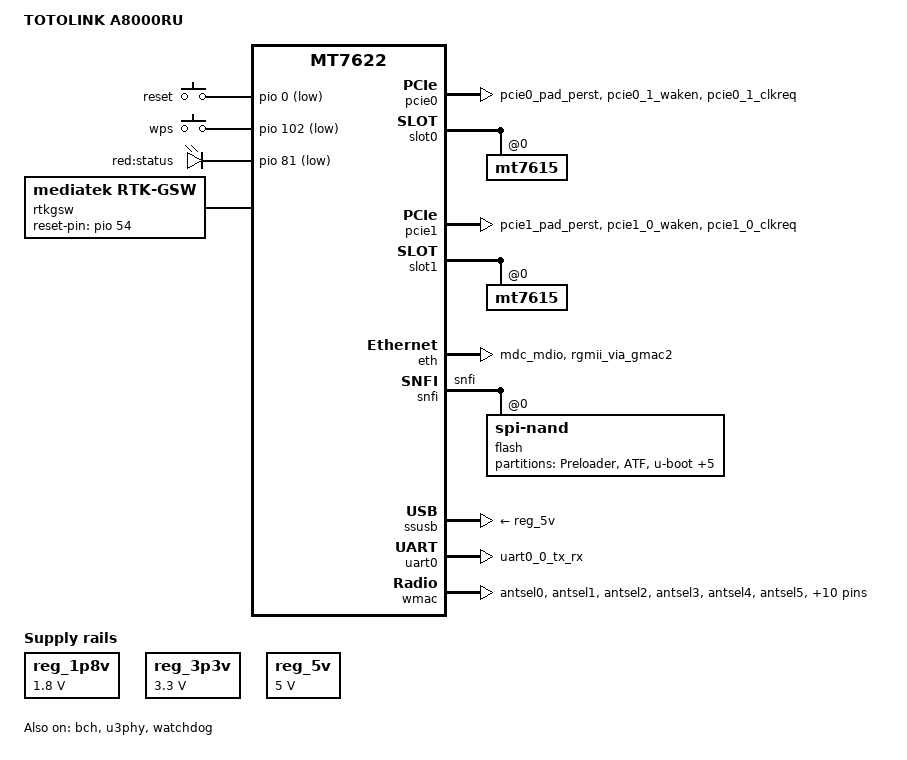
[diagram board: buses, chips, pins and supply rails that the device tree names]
// SPDX-License-Identifier: (GPL-2.0-only OR MIT)

/dts-v1/;
#include <dt-bindings/input/input.h>
#include <dt-bindings/gpio/gpio.h>

#include "mt7622.dtsi"
#include "mt6380.dtsi"

/ {
	model = "TOTOLINK A8000RU";
	compatible = "totolink,a8000ru", "mediatek,mt7622";

	aliases {
		label-mac-device = &gmac0;
		led-boot = &led_status;
		led-failsafe = &led_status;
		led-running = &led_status;
		led-upgrade = &led_status;
		serial0 = &uart0;
	};

	chosen {
		stdout-path = "serial0:115200n8";
		bootargs = "earlycon=uart8250,mmio32,0x11002000 swiotlb=512";
	};

	cpus {
		cpu@0 {
			proc-supply = <&mt6380_vcpu_reg>;
			sram-supply = <&mt6380_vm_reg>;
		};

		cpu@1 {
			proc-supply = <&mt6380_vcpu_reg>;
			sram-supply = <&mt6380_vm_reg>;
		};
	};

	gpio-keys {
		compatible = "gpio-keys";

		reset {
			label = "reset";
			linux,code = <KEY_RESTART>;
			gpios = <&pio 0 GPIO_ACTIVE_LOW>;
		};

		wps {
			label = "wps";
			linux,code = <KEY_WPS_BUTTON>;
			gpios = <&pio 102 GPIO_ACTIVE_LOW>;
		};
	};

	gpio-leds {
		compatible = "gpio-leds";

		led_status: status_red {
			label = "red:status";
			gpios = <&pio 81 GPIO_ACTIVE_LOW>;
			default-state = "on";
		};
	};

	reg_1p8v: regulator-1p8v {
		compatible = "regulator-fixed";
		regulator-name = "fixed-1.8V";
		regulator-min-microvolt = <1800000>;
		regulator-max-microvolt = <1800000>;
		regulator-always-on;
	};

	reg_3p3v: regulator-3p3v {
		compatible = "regulator-fixed";
		regulator-name = "fixed-3.3V";
		regulator-min-microvolt = <3300000>;
		regulator-max-microvolt = <3300000>;
		regulator-boot-on;
		regulator-always-on;
	};

	reg_5v: regulator-5v {
		compatible = "regulator-fixed";
		regulator-name = "fixed-5V";
		regulator-min-microvolt = <5000000>;
		regulator-max-microvolt = <5000000>;
		regulator-boot-on;
		regulator-always-on;
	};

	rtkgsw: rtkgsw@0 {
		compatible = "mediatek,rtk-gsw";
		mediatek,ethsys = <&ethsys>;
		mediatek,mdio = <&mdio>;
		mediatek,reset-pin = <&pio 54 0>;
		status = "okay";
	};
};

&pcie0 {
	pinctrl-names = "default";
	pinctrl-0 = <&pcie0_pins>;
	status = "okay";
};

&slot0 {
	mt7615@0,0 {
		reg = <0x0000 0 0 0 0>;
		mediatek,mtd-eeprom = <&factory 0x5000>;
		ieee80211-freq-limit = <5490000 6000000>;
	};
};

&pcie1 {
	pinctrl-names = "default";
	pinctrl-0 = <&pcie1_pins>;
	status = "okay";
};

&slot1 {
	mt7615@0,0 {
		reg = <0x0000 0 0 0 0>;
		mediatek,mtd-eeprom = <&factory 0x10000>;
		ieee80211-freq-limit = <5000000 5490000>;
	};
};

&pio {
	eth_pins: eth-pins {
		mux {
			function = "eth";
			groups = "mdc_mdio", "rgmii_via_gmac2";
		};
	};

	pcie0_pins: pcie0-pins {
		mux {
			function = "pcie";
			groups = "pcie0_pad_perst",
				 "pcie0_1_waken",
				 "pcie0_1_clkreq";
		};
	};

	pcie1_pins: pcie1-pins {
		mux {
			function = "pcie";
			groups = "pcie1_pad_perst",
				 "pcie1_0_waken",
				 "pcie1_0_clkreq";
		};
	};

	pmic_bus_pins: pmic-bus-pins {
		mux {
			function = "pmic";
			groups = "pmic_bus";
		};
	};

	/* serial NAND is shared pin with SPI-NOR */
	serial_nand_pins: serial-nand-pins {
		mux {
			function = "flash";
			groups = "snfi";
		};
	};

	uart0_pins: uart0-pins {
		mux {
			function = "uart";
			groups = "uart0_0_tx_rx" ;
		};
	};

	watchdog_pins: watchdog-pins {
		mux {
			function = "watchdog";
			groups = "watchdog";
		};
	};

	epa_elna_pins: epa-elna-pins {
		mux {
			function = "antsel";
			groups = "antsel0", "antsel1", "antsel2", "antsel3",
				"antsel4", "antsel5", "antsel6", "antsel7",
				"antsel8", "antsel9", "antsel12", "antsel13",
				"antsel14", "antsel15", "antsel16", "antsel17";
		};
	};
};

&eth {
	status = "okay";
	pinctrl-names = "default";
	pinctrl-0 = <&eth_pins>;

	gmac0: mac@0 {
		compatible = "mediatek,eth-mac";
		reg = <0>;
		nvmem-cells = <&macaddr_factory_2a>;
		nvmem-cell-names = "mac-address";
		phy-connection-type = "2500base-x";
		fixed-link {
			speed = <2500>;
			full-duplex;
			pause;
		};
	};

	gmac1: mac@1 {
		compatible = "mediatek,eth-mac";
		reg = <1>;
		phy-mode = "rgmii";
		nvmem-cells = <&macaddr_factory_24>;
		nvmem-cell-names = "mac-address";
		fixed-link {
			speed = <1000>;
			full-duplex;
			pause;
		};
	};

	mdio: mdio-bus {
		#address-cells = <1>;
		#size-cells = <0>;
	};
};

&pwrap {
	pinctrl-names = "default";
	pinctrl-0 = <&pmic_bus_pins>;
	status = "okay";
};

&bch {
	status = "okay";
};

&snfi {
	pinctrl-names = "default";
	pinctrl-0 = <&serial_nand_pins>;
	status = "okay";
	flash@0 {
		compatible = "spi-nand";
		reg = <0>;
		spi-tx-bus-width = <4>;
		spi-rx-bus-width = <4>;
		nand-ecc-engine = <&snfi>;
		mediatek,bmt-v2;

		partitions {
			compatible = "fixed-partitions";
			#address-cells = <1>;
			#size-cells = <1>;

			partition@0 {
				label = "Preloader";
				reg = <0x0 0x80000>;
				read-only;
			};

			partition@80000 {
				label = "ATF";
				reg = <0x80000 0x40000>;
				read-only;
			};

			partition@c0000 {
				label = "u-boot";
				reg = <0xc0000 0x80000>;
				read-only;
			};

			partition@140000 {
				label = "u-boot-env";
				reg = <0x140000 0x80000>;
				read-only;
			};

			factory: partition@1c0000 {
				label = "factory";
				reg = <0x1c0000 0x40000>;
				read-only;
			};

			partition@200000 {
				label = "ubi";
				reg = <0x200000 0x6400000>;
			};

			partition@6600000 {
				label = "User_data";
				reg = <0x6600000 0x100000>;
			};

			/* size of this partition varies due to BMT & bad blocks. */
			partition@6700000 {
				label = "reserved";
				reg = <0x6700000 0>;
			};
		};
	};
};

&factory {
	compatible = "nvmem-cells";
	#address-cells = <1>;
	#size-cells = <1>;

	macaddr_factory_24: macaddr@24 {
		reg = <0x24 0x6>;
	};

	macaddr_factory_2a: macaddr@2a {
		reg = <0x2a 0x6>;
	};
};

&ssusb {
	vusb33-supply = <&reg_3p3v>;
	vbus-supply = <&reg_5v>;
	status = "okay";
};

&u3phy {
	status = "okay";
};

&uart0 {
	pinctrl-names = "default";
	pinctrl-0 = <&uart0_pins>;
	status = "okay";
};

&watchdog {
	pinctrl-names = "default";
	pinctrl-0 = <&watchdog_pins>;
	status = "okay";
};

&wmac {
	pinctrl-names = "default";
	pinctrl-0 = <&epa_elna_pins>;
	mediatek,mtd-eeprom = <&factory 0x0>;
	status = "okay";
};
